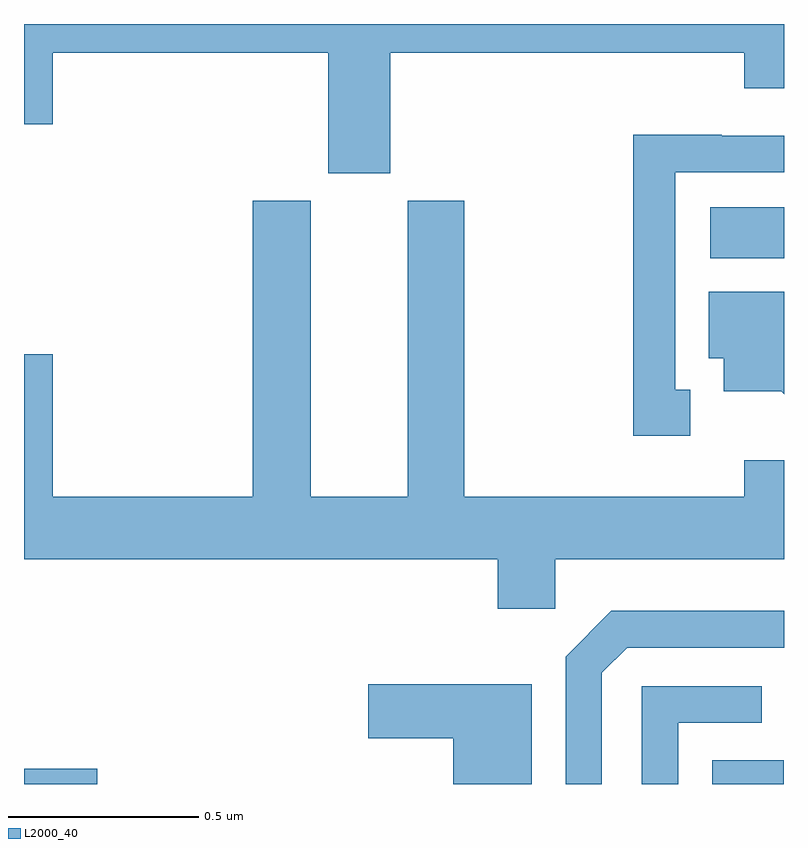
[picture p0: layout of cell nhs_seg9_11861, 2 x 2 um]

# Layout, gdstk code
import gdstk
lib = gdstk.Library(unit=1e-6, precision=1e-09)
def R(c, l, rs):  # rectangles x0, y0, x1, y1
    for r in rs: c.add(gdstk.rectangle(r[:2], r[2:], *l))
def P(c, l, *ps):  # polygons
    for p in ps: c.add(gdstk.Polygon(p, *l))
L2000_40 = (2000, 40)

nhs_seg9_11861 = lib.new_cell('nhs_seg9_11861')
R(nhs_seg9_11861, L2000_40, [(261,1190.5,261.193,1190.54), (262.811,1190.5,262.999,1190.563), (262.806,1191.884,263,1192.018)])
P(nhs_seg9_11861, L2000_40, [(261.964,1192.424),(262.895,1192.424),(262.895,1192.331),(263,1192.331),(263,1192.5),(261,1192.5),(261,1192.236),(261.076,1192.236),(261.076,1192.424),(261.8,1192.424),(261.8,1192.107),(261.964,1192.107)],
  [(262.753,1191.537),(262.714,1191.537),(262.714,1192.11),(263,1192.11),(263,1192.206),(262.836,1192.206),(262.836,1192.208),(262.603,1192.208),(262.603,1191.417),(262.753,1191.417)],
  [(262.398,1191.092),(263,1191.092),(263,1191.352),(262.895,1191.352),(262.895,1191.256),(262.158,1191.256),(262.158,1192.035),(262.01,1192.035),(262.01,1191.256),(261.754,1191.256),(261.754,1192.035),(261.602,1192.035),(261.602,1191.256),(261.076,1191.256),(261.076,1191.631),(261,1191.631),(261,1191.092),(262.247,1191.092),(262.247,1190.961),(262.398,1190.961)],
  [(263,1191.796),(262.802,1191.796),(262.802,1191.62),(262.841,1191.62),(262.841,1191.533),(262.993,1191.533),(263,1191.526)],
  [(262.521,1190.793),(262.587,1190.859),(263,1190.859),(263,1190.956),(262.546,1190.956),(262.425,1190.835),(262.425,1190.5),(262.521,1190.5)],
  [(262.336,1190.763),(261.906,1190.763),(261.906,1190.621),(262.129,1190.621),(262.129,1190.5),(262.336,1190.5)],
  [(262.722,1190.661),(262.942,1190.661),(262.942,1190.757),(262.626,1190.757),(262.626,1190.5),(262.722,1190.5)])

lib.write_gds('nhs_seg9_11861.gds')
